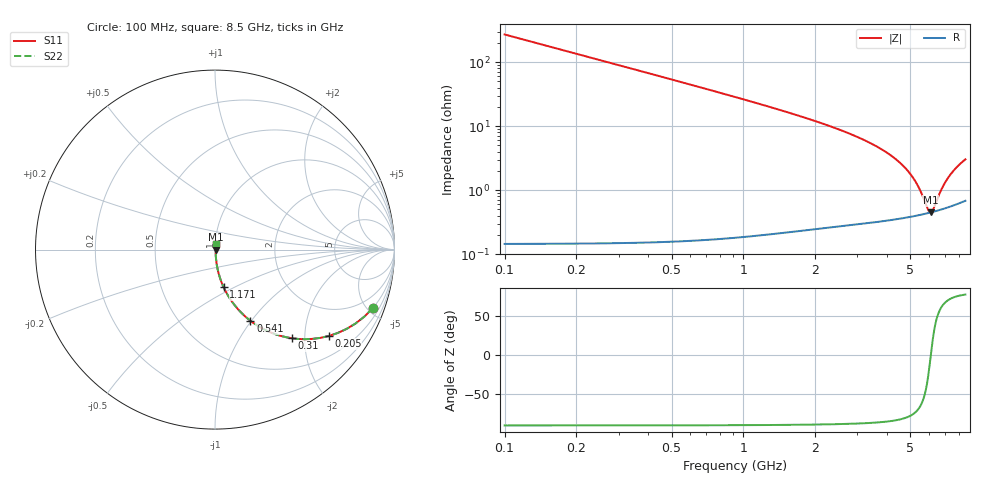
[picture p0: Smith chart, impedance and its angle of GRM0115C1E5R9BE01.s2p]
!Murata Part Number: GRM0115C1E5R9BE01
!These Parameters are Measured in Series Mode Connection
!Data Generated on Mar 30, 2021
!  o--ll--o
!Port1  Port2
!  o------o
!Operation Temp=25[degC], DC Bias Voltage=0[V]
!Freq. Start=100[MHz] Stop=9[GHz] 401[Steps]
# Hz S RI R 50
!Freq.(Hz) S11(Real) S11(Imag) S21(Real) S21(Imag) S12(Real) S12(Imag) S22(Real) S22(Imag)
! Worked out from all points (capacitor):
!   401 points, 100 MHz to 8.5 GHz, reference 50 ohm
!   read as one part in series: C = 5.9 pF near 142 MHz
!   lowest |Z| = 449 mohm at 6.085 GHz (marker M1)
!   series resonance near 6.091 GHz, so ESL is about 120 pH
!   S11 on the Smith chart (normalised r, x): 100 MHz: 1.00, -5.39; 205 MHz: 1.00, -2.63; 310 MHz: 1.00, -1.74; 541 MHz: 1.00, -0.99; 1.171 GHz: 1.00, -0.44; 8.5 GHz: 1.01, +0.06
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1e8  0.879 -0.3259  0.121 0.3259  0.121 0.3259  0.879 -0.3259
1.42e8  0.7826 -0.4121  0.2174 0.4121  0.2174 0.4121  0.7826 -0.4121
2.05e8  0.6332 -0.4814  0.3668 0.4814  0.3668 0.4814  0.6332 -0.4814
3.1e8  0.4296 -0.4942  0.5704 0.4942  0.5704 0.4942  0.4296 -0.4942
4.15e8  0.2953 -0.455  0.7047 0.455  0.7047 0.455  0.2953 -0.455
5.41e8  0.1971 -0.3962  0.8029 0.3962  0.8029 0.3962  0.1971 -0.3962
7.93e8  0.1015 -0.2995  0.8985 0.2995  0.8985 0.2995  0.1015 -0.2995
1.171e9  0.0484 -0.2101  0.9516 0.2101  0.9516 0.2101  0.0484 -0.2101
1.507e9  0.0293 -0.1622  0.9707 0.1622  0.9707 0.1622  0.0293 -0.1622
2.914e9  0.00784 -0.0702  0.9922 0.0702  0.9922 0.0702  0.00784 -0.0702
4.3e9  0.00444 -0.031  0.9956 0.031  0.9956 0.031  0.00444 -0.031
4.741e9  0.00417 -0.0221  0.9958 0.0221  0.9958 0.0221  0.00417 -0.0221
5.119e9  0.00411 -0.0152  0.9959 0.0152  0.9959 0.0152  0.00411 -0.0152
5.434e9  0.00416 -0.00997  0.9958 0.00997  0.9958 0.00997  0.00416 -0.00997
5.707e9  0.00425 -0.00568  0.9957 0.00568  0.9957 0.00568  0.00425 -0.00568
5.938e9  0.00438 -0.00222  0.9956 0.00222  0.9956 0.00222  0.00438 -0.00222
6.085e9  0.00447 -8.53e-05  0.9955 8.53e-05  0.9955 8.53e-05  0.00447 -8.53e-05
6.232e9  0.00458 0.00199  0.9954 -0.00199  0.9954 -0.00199  0.00458 0.00199
6.757e9  0.00506 0.00903  0.9949 -0.00903  0.9949 -0.00903  0.00506 0.00903
7.114e9  0.00547 0.0135  0.9945 -0.0135  0.9945 -0.0135  0.00547 0.0135
7.723e9  0.00632 0.0207  0.9937 -0.0207  0.9937 -0.0207  0.00632 0.0207
8.5e9  0.00764 0.0291  0.9924 -0.0291  0.9924 -0.0291  0.00764 0.0291
